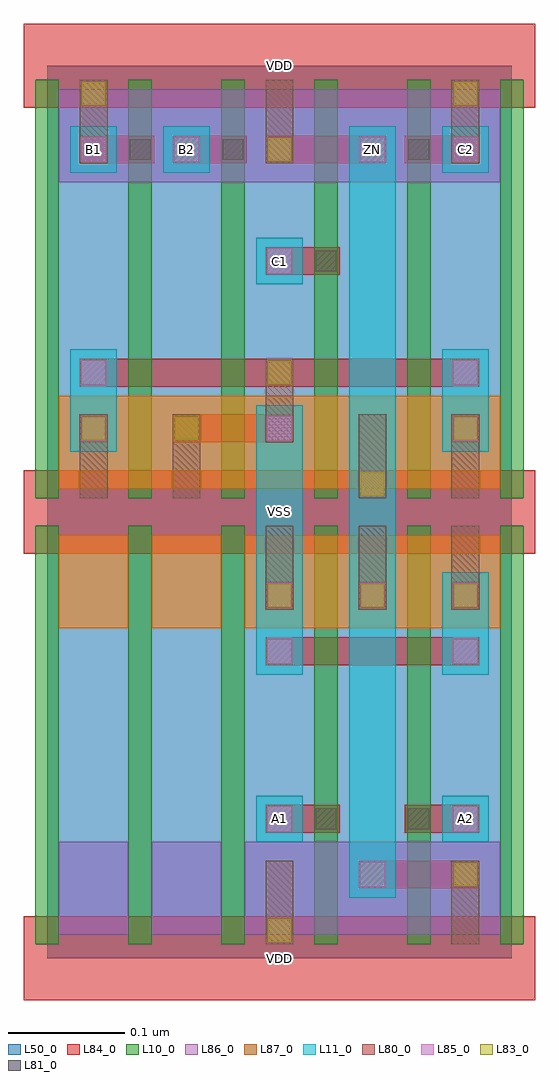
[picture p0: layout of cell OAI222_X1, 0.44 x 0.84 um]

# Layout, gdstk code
import gdstk
lib = gdstk.Library(unit=1e-6, precision=1e-09)
def R(c, l, rs):  # rectangles x0, y0, x1, y1
    for r in rs: c.add(gdstk.rectangle(r[:2], r[2:], *l))
def A(c, l, x, y, w, h, nx, ny, dx, dy):  # array of equal rectangles
    R(c, l, [(x+i*dx, y+j*dy, x+i*dx+w, y+j*dy+h) for i in range(nx) for j in range(ny)])
L10_0 = (10, 0)
L11_0 = (11, 0)
L50_0 = (50, 0)
L80_0 = (80, 0)
L81_0 = (81, 0)
L83_0 = (83, 0)
L84_0 = (84, 0)
L85_0 = (85, 0)
L86_0 = (86, 0)
L87_0 = (87, 0)

oai222_x1 = lib.new_cell('OAI222_X1')
A(oai222_x1, L10_0, -0.01, 0.012, 0.02, 0.36, 6, 2, 0.08, 0.384)
R(oai222_x1, L11_0, [(0.26,0.052,0.3,0.716), (0.18,0.1,0.22,0.14), (0.34,0.1,0.38,0.14), (0.18,0.244,0.22,0.476), (0.34,0.244,0.38,0.332), (0.02,0.436,0.06,0.524), (0.34,0.436,0.38,0.524), (0.18,0.58,0.22,0.62), (0.02,0.676,0.06,0.716), (0.1,0.676,0.14,0.716), (0.34,0.676,0.38,0.716)])
R(oai222_x1, L50_0, [(0,0,0.4,0.768)])
A(oai222_x1, L80_0, 0.188, 0.3, 0.024, 0.072, 3, 1, 0.08, 0)
A(oai222_x1, L80_0, 0.028, 0.684, 0.024, 0.072, 3, 1, 0.16, 0)
R(oai222_x1, L80_0, [(0.188,0.012,0.212,0.084), (0.348,0.012,0.372,0.084), (0.028,0.396,0.052,0.468), (0.108,0.396,0.132,0.468), (0.268,0.396,0.292,0.468), (0.348,0.396,0.372,0.468), (0.188,0.444,0.212,0.516)])
R(oai222_x1, L81_0, [(0.231,0.111,0.249,0.129), (0.311,0.111,0.329,0.129), (0.231,0.591,0.249,0.609), (0.071,0.687,0.089,0.705), (0.151,0.687,0.169,0.705), (0.311,0.687,0.329,0.705)])
A(oai222_x1, L83_0, 0.19, 0.302, 0.02, 0.02, 3, 1, 0.08, 0)
R(oai222_x1, L83_0, [(0.19,0.014,0.21,0.034), (0.35,0.062,0.37,0.082), (0.27,0.398,0.29,0.418), (0.03,0.446,0.05,0.466), (0.11,0.446,0.13,0.466), (0.35,0.446,0.37,0.466), (0.19,0.494,0.21,0.514), (0.19,0.686,0.21,0.706), (0.03,0.734,0.05,0.754), (0.35,0.734,0.37,0.754)])
A(oai222_x1, L84_0, -0.02, -0.036, 0.44, 0.072, 1, 3, 0, 0.384)
A(oai222_x1, L84_0, 0.188, 0.3, 0.024, 0.024, 3, 1, 0.08, 0)
R(oai222_x1, L84_0, [(0.268,0.06,0.372,0.084), (0.188,0.108,0.252,0.132), (0.308,0.108,0.372,0.132), (0.188,0.252,0.372,0.276), (0.028,0.444,0.052,0.468), (0.108,0.444,0.212,0.468), (0.348,0.444,0.372,0.468), (0.028,0.492,0.372,0.516), (0.188,0.588,0.252,0.612), (0.028,0.684,0.092,0.708), (0.108,0.684,0.172,0.708), (0.188,0.684,0.292,0.708), (0.308,0.684,0.372,0.708)])
A(oai222_x1, L85_0, 0.189, 0.301, 0.022, 0.022, 3, 1, 0.08, 0)
A(oai222_x1, L85_0, 0.029, 0.445, 0.022, 0.022, 3, 1, 0.16, 0)
R(oai222_x1, L85_0, [(0.269,0.061,0.291,0.083), (0.189,0.109,0.211,0.131), (0.349,0.109,0.371,0.131), (0.189,0.253,0.211,0.275), (0.349,0.253,0.371,0.275), (0.029,0.493,0.051,0.515), (0.349,0.493,0.371,0.515), (0.189,0.589,0.211,0.611), (0.029,0.685,0.051,0.707), (0.109,0.685,0.131,0.707), (0.269,0.685,0.291,0.707), (0.349,0.685,0.371,0.707)])
R(oai222_x1, L86_0, [(0.01,0.02,0.07,0.1), (0.09,0.02,0.15,0.1), (0.17,0.02,0.39,0.1), (0.01,0.668,0.39,0.748)])
R(oai222_x1, L87_0, [(0.01,0.284,0.07,0.364), (0.09,0.284,0.15,0.364), (0.17,0.284,0.39,0.364), (0.01,0.404,0.39,0.484)])
oai222_x1.add(gdstk.Label('VSS', (0.2,0.384), layer=88, texttype=0))
oai222_x1.add(gdstk.Label('VDD', (0.2,0), layer=88, texttype=0))
oai222_x1.add(gdstk.Label('VDD', (0.2,0.768), layer=88, texttype=0))
oai222_x1.add(gdstk.Label('C2', (0.36,0.696), layer=31, texttype=0))
oai222_x1.add(gdstk.Label('A1', (0.2,0.12), layer=31, texttype=0))
oai222_x1.add(gdstk.Label('C1', (0.2,0.6), layer=31, texttype=0))
oai222_x1.add(gdstk.Label('A2', (0.36,0.12), layer=31, texttype=0))
oai222_x1.add(gdstk.Label('B1', (0.04,0.696), layer=31, texttype=0))
oai222_x1.add(gdstk.Label('B2', (0.12,0.696), layer=31, texttype=0))
oai222_x1.add(gdstk.Label('ZN', (0.28,0.696), layer=31, texttype=0))

lib.write_gds('OAI222_X1.gds')
